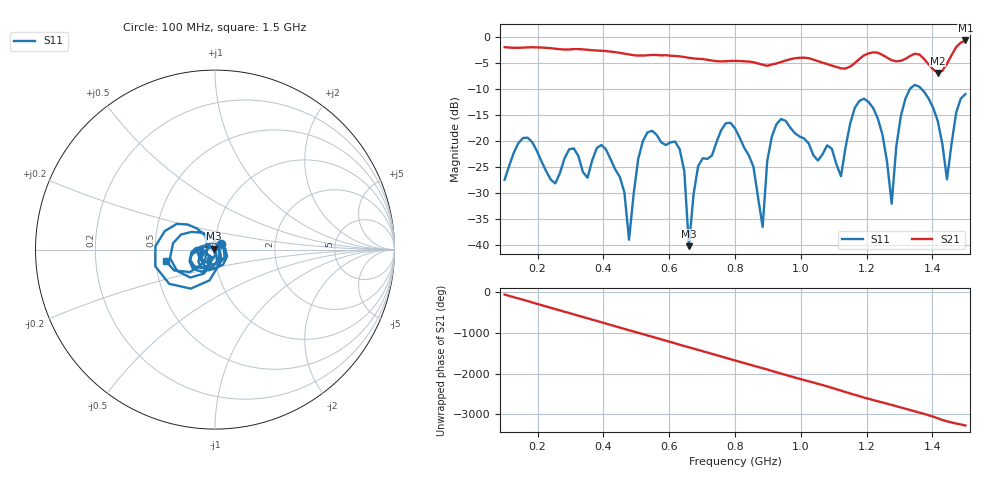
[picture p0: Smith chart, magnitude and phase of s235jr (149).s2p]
! NanoVNA-App
! Date: 2025-09-25 15:05:19
! Start: 100MHz Stop: 1,5GHz Points: 101
! S-Parameter data: F S11 S21 S12 S22
# Hz S RI R 50
!  Frequency  S11_Real  S11_Imag  S21_Real  S21_Imag  S12_Real  S12_Imag  S22_Real  S22_Imag
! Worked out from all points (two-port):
!   101 points, 100 MHz to 1.5 GHz, reference 50 ohm
!   highest |S21| = -0.67 dB at 1.5 GHz (marker M1); lowest = -6.9 dB at 1.416 GHz (marker M2)
!   |S21| within 3 dB of the highest: start of sweep to 620.2 MHz; 1.189 GHz to 1.254 GHz (64.61 MHz wide, 5.29 % of centre) (the widest 2 of 4)
!   lowest |S11| = -40.3 dB at 660 MHz (marker M3), VSWR 1.02, Z = 49.2 + j0.569 ohm
!   |S11| at or under -10 dB: start of sweep to 1.332 GHz; 1.366 GHz to end of sweep
!   S12 and S22 are empty: the file has one direction only
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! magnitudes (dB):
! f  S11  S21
! 100 MHz  -27.5  -2.0
! 156 MHz  -19.4  -2.1
! 338 MHz  -26.0  -2.4
! 408 MHz  -21.7  -2.7
! 478 MHz  -39.0  -3.4
! 520 MHz  -20.0  -3.6
! 576 MHz  -20.3  -3.5
! 632 MHz  -21.6  -3.7
! 660 MHz  -40.3  -4.0
! 688 MHz  -24.9  -4.2
! 800 MHz  -17.6  -4.6
! 884 MHz  -36.6  -5.3
! 926 MHz  -16.8  -5.1
! 1.038 GHz  -22.7  -4.4
! 1.122 GHz  -26.8  -6.0
! 1.192 GHz  -11.9  -3.5
! 1.248 GHz  -18.8  -3.5
! 1.276 GHz  -32.1  -4.5
! 1.332 GHz  -9.9  -3.7
! 1.416 GHz  -16.2  -6.9
! 1.444 GHz  -27.4  -5.2
! 1.5 GHz  -11.0  -0.7
